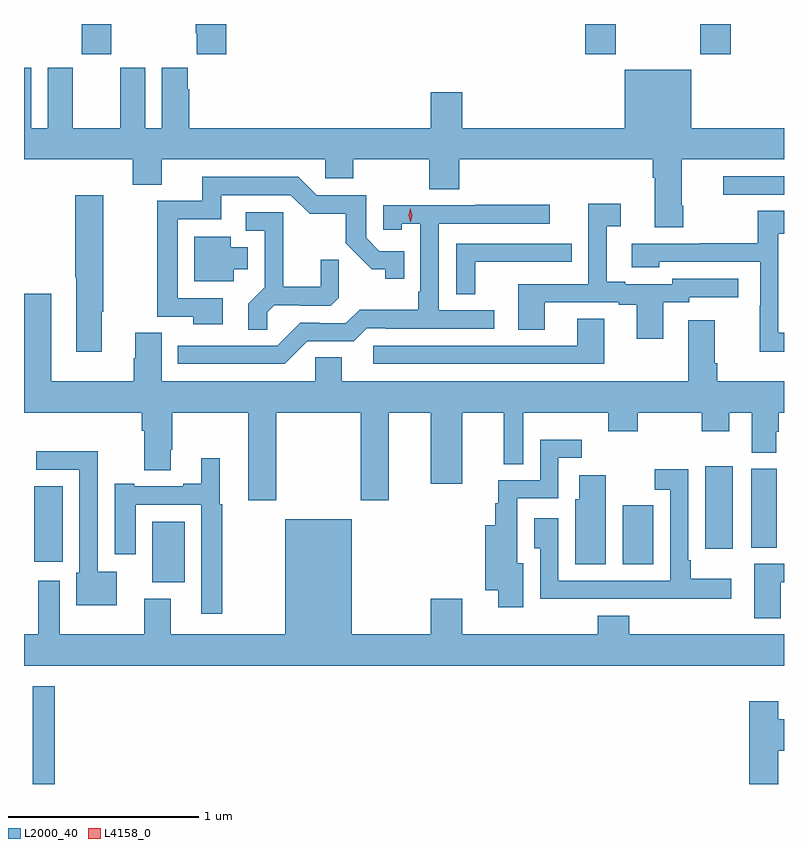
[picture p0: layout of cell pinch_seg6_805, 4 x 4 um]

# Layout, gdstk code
import gdstk
lib = gdstk.Library(unit=1e-6, precision=1e-09)
def R(c, l, rs):  # rectangles x0, y0, x1, y1
    for r in rs: c.add(gdstk.rectangle(r[:2], r[2:], *l))
def P(c, l, *ps):  # polygons
    for p in ps: c.add(gdstk.Polygon(p, *l))
L2000_40 = (2000, 40)
L4158_0 = (4158, 0)

pinch_seg6_805 = lib.new_cell('pinch_seg6_805')
R(pinch_seg6_805, L2000_40, [(174.9,954.705,175.016,955.219), (175.529,955.766,175.699,956.086), (178.004,955.861,178.165,956.172), (174.908,955.875,175.057,956.273), (178.439,955.944,178.585,956.377), (178.682,955.948,178.816,956.364), (178.533,957.807,178.854,957.903), (175.159,958.545,175.314,958.705), (177.809,958.545,177.969,958.705), (178.414,958.545,178.574,958.705)])
P(pinch_seg6_805, L2000_40, [(175.919,958.705),(175.759,958.705),(175.759,958.657),(175.763,958.657),(175.763,958.545),(175.919,958.545)],
  [(177.146,957.992),(178.163,957.992),(178.163,957.896),(178.175,957.896),(178.175,957.636),(178.323,957.636),(178.323,957.748),(178.315,957.748),(178.315,957.992),(178.854,957.992),(178.854,958.156),(178.366,958.156),(178.366,958.465),(178.016,958.465),(178.016,958.156),(177.16,958.156),(177.16,958.345),(176.996,958.345),(176.996,958.156),(175.724,958.156),(175.724,958.361),(175.717,958.361),(175.717,958.474),(175.58,958.474),(175.58,958.156),(175.492,958.156),(175.492,958.474),(175.361,958.474),(175.361,958.156),(175.111,958.156),(175.111,958.474),(174.98,958.474),(174.98,958.156),(174.892,958.156),(174.892,958.474),(174.854,958.474),(174.854,957.992),(175.427,957.992),(175.427,957.859),(175.579,957.859),(175.579,957.992),(176.439,957.992),(176.439,957.894),(176.586,957.894),(176.586,957.992),(176.986,957.992),(176.986,957.835),(177.146,957.835)],
  [(175.9,957.261),(175.662,957.261),(175.662,957.678),(175.891,957.678),(175.891,957.804),(176.259,957.804),(176.358,957.706),(176.547,957.706),(176.547,957.55),(176.684,957.413),(176.754,957.413),(176.754,957.363),(176.855,957.363),(176.855,957.51),(176.724,957.51),(176.655,957.579),(176.655,957.804),(176.394,957.804),(176.298,957.9),(175.793,957.9),(175.793,957.774),(175.554,957.774),(175.554,957.165),(175.744,957.165),(175.744,957.125),(175.9,957.125)],
  [(175.264,957.191),(175.272,957.191),(175.272,957.805),(175.123,957.805),(175.123,957.373),(175.13,957.373),(175.13,956.979),(175.264,956.979)],
  [(178.219,957.24),(178.356,957.24),(178.356,957.267),(178.612,957.267),(178.612,957.363),(178.266,957.363),(178.266,957.336),(178.018,957.336),(178.018,957.349),(177.922,957.349),(177.922,957.64),(177.994,957.64),(177.994,957.76),(177.825,957.76),(177.825,957.336),(177.455,957.336),(177.455,957.097),(177.595,957.097),(177.595,957.24),(177.983,957.24),(177.983,957.228),(178.079,957.228),(178.079,957.048),(178.219,957.048)],
  [(176.346,957.036),(176.589,957.036),(176.658,957.105),(176.758,957.105),(176.758,957.102),(177.328,957.102),(177.328,957.198),(177.036,957.198),(177.036,957.654),(177.622,957.654),(177.622,957.753),(177.229,957.753),(177.229,957.75),(176.745,957.75),(176.745,957.621),(176.841,957.621),(176.841,957.653),(176.94,957.653),(176.94,957.295),(176.928,957.295),(176.928,957.202),(176.62,957.202),(176.547,957.129),(176.408,957.129),(176.408,957.132),(176.307,957.132),(176.187,957.012),(175.664,957.012),(175.664,956.916),(176.226,956.916)],
  [(178.854,957.079),(178.824,957.079),(178.824,957.601),(178.854,957.601),(178.854,957.722),(178.716,957.722),(178.716,957.552),(178.411,957.552),(178.411,957.549),(178.053,957.549),(178.053,957.425),(178.197,957.425),(178.197,957.453),(178.728,957.453),(178.728,957.221),(178.726,957.221),(178.726,956.981),(178.854,956.981)],
  [(176.133,957.188),(176.17,957.225),(176.304,957.225),(176.304,957.222),(176.469,957.222),(176.51,957.263),(176.51,957.465),(176.416,957.465),(176.416,957.322),(176.219,957.322),(176.219,957.714),(176.022,957.714),(176.022,957.618),(176.121,957.618),(176.121,957.319),(176.035,957.233),(176.035,957.097),(176.133,957.097)],
  [(175.957,957.413),(176.032,957.413),(176.032,957.529),(175.942,957.529),(175.942,957.586),(175.751,957.586),(175.751,957.35),(175.957,957.35)],
  [(177.228,957.453),(177.623,957.453),(177.623,957.454),(177.736,957.454),(177.736,957.549),(177.129,957.549),(177.129,957.283),(177.228,957.283)],
  [(176.181,956.66),(176.626,956.66),(176.626,956.199),(176.773,956.199),(176.773,956.66),(176.996,956.66),(176.996,956.286),(177.16,956.286),(177.16,956.66),(177.38,956.66),(177.38,956.389),(177.481,956.389),(177.481,956.66),(177.928,956.66),(177.928,956.561),(178.083,956.561),(178.083,956.66),(178.42,956.66),(178.42,956.561),(178.567,956.561),(178.567,956.66),(178.685,956.66),(178.685,956.449),(178.813,956.449),(178.813,956.559),(178.826,956.559),(178.826,956.66),(178.854,956.66),(178.854,956.824),(178.502,956.824),(178.502,956.92),(178.489,956.92),(178.489,957.145),(178.349,957.145),(178.349,956.824),(176.527,956.824),(176.527,956.951),(176.388,956.951),(176.388,956.824),(175.579,956.824),(175.579,957.08),(175.439,957.08),(175.439,956.946),(175.432,956.946),(175.432,956.824),(174.997,956.824),(174.997,957.286),(174.854,957.286),(174.854,956.66),(175.475,956.66),(175.475,956.564),(175.487,956.564),(175.487,956.356),(175.627,956.356),(175.627,956.464),(175.635,956.464),(175.635,956.66),(176.033,956.66),(176.033,956.199),(176.181,956.199)],
  [(177.907,957.155),(177.767,957.155),(177.767,957.012),(176.691,957.012),(176.691,956.916),(177.907,956.916)],
  [(177.481,955.867),(177.451,955.867),(177.451,956.208),(177.666,956.208),(177.666,956.421),(177.79,956.421),(177.79,956.518),(177.57,956.518),(177.57,956.304),(177.35,956.304),(177.35,956.183),(177.333,956.183),(177.333,956.068),(177.281,956.068),(177.281,955.724),(177.35,955.724),(177.35,955.635),(177.481,955.635)],
  [(175.342,955.822),(175.242,955.822),(175.242,956.456),(174.918,956.456),(174.918,956.358),(175.146,956.358),(175.146,955.818),(175.13,955.818),(175.13,955.646),(175.342,955.646)],
  [(175.897,956.178),(175.885,956.178),(175.885,956.419),(175.787,956.419),(175.787,956.284),(175.691,956.284),(175.691,956.271),(175.435,956.271),(175.435,956.284),(175.331,956.284),(175.331,955.914),(175.441,955.914),(175.441,956.175),(175.788,956.175),(175.788,955.602),(175.897,955.602)],
  [(177.791,955.68),(178.157,955.68),(178.157,955.679),(178.576,955.679),(178.576,955.786),(178.363,955.786),(178.363,955.882),(178.35,955.882),(178.35,956.362),(178.173,956.362),(178.173,956.253),(178.254,956.253),(178.254,955.776),(177.666,955.776),(177.666,956.104),(177.539,956.104),(177.539,955.945),(177.57,955.945),(177.57,955.679),(177.791,955.679)],
  [(177.916,956.329),(177.776,956.329),(177.776,956.205),(177.755,956.205),(177.755,955.861),(177.916,955.861)],
  [(178.854,955.492),(178.04,955.492),(178.04,955.591),(177.875,955.591),(177.875,955.492),(177.16,955.492),(177.16,955.681),(176.996,955.681),(176.996,955.492),(176.578,955.492),(176.578,956.098),(176.228,956.098),(176.228,955.492),(175.627,955.492),(175.627,955.681),(175.487,955.681),(175.487,955.492),(175.042,955.492),(175.042,955.774),(174.929,955.774),(174.929,955.492),(174.854,955.492),(174.854,955.328),(178.854,955.328)],
  [(178.837,955.767),(178.854,955.767),(178.854,955.863),(178.697,955.863),(178.697,955.578),(178.837,955.578)],
  [(178.824,954.88),(178.854,954.88),(178.854,955.045),(178.824,955.045),(178.824,955.141),(178.67,955.141),(178.67,954.705),(178.824,954.705)])
P(pinch_seg6_805, L4158_0, [(176.888,957.663),(176.878,957.698),(176.888,957.734),(176.888,957.735),(176.888,957.734),(176.898,957.699),(176.889,957.663),(176.889,957.663)])

lib.write_gds('pinch_seg6_805.gds')
